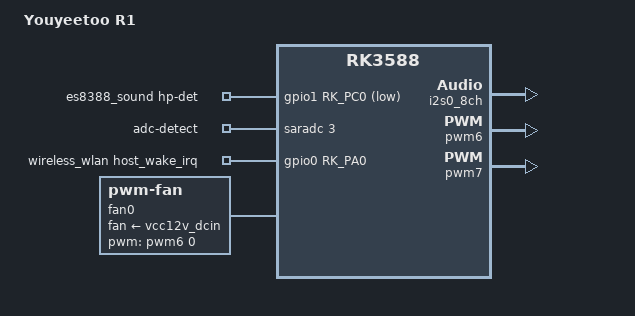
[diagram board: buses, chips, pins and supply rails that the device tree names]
// SPDX-License-Identifier: (GPL-2.0+ OR MIT)
/*
 * Copyright (c) 2021 Rockchip Electronics Co., Ltd.
 *
 */

/dts-v1/;

#include "rk3588s-yyt-common.dtsi"

/ {
    model = "Youyeetoo R1";
    compatible = "youyeetoo,r1", "rockchip,rk3588";

    /* AUDIO */

	es8388_sound: es8388-sound {
		status = "okay";
		compatible = "rockchip,multicodecs-card";
		rockchip,card-name = "rockchip-es8388";
        hp-det-gpio = <&gpio1 RK_PC0 GPIO_ACTIVE_LOW>;
		io-channels = <&saradc 3>;
		io-channel-names = "adc-detect";
		keyup-threshold-microvolt = <1800000>;
		poll-interval = <100>;
		rockchip,format = "i2s";
		rockchip,mclk-fs = <256>;
		rockchip,cpu = <&i2s0_8ch>;
		rockchip,codec = <&es8388>;
        rockchip,audio-routing =
            "Headphone", "LOUT1",
            "Headphone", "ROUT1",
            "Speaker", "LOUT1",
            "Speaker", "ROUT1",
            "Headphone", "Headphone Power",
            "Speaker", "Speaker Power",
            "LINPUT1", "Headset Mic",
            "RINPUT1", "Headset Mic",
            "LINPUT2", "Main Mic",
            "RINPUT2", "Main Mic";
		pinctrl-names = "default";
		pinctrl-0 = <&hp_det>;
		play-pause-key {
			label = "playpause";
			linux,code = <KEY_PLAYPAUSE>;
			press-threshold-microvolt = <2000>;
		};
	};

    /* BLUETOOTH */
    wireless_bluetooth: wireless-bluetooth {
        compatible = "bluetooth-platdata";
        clocks = <&hym8563>;
        clock-names = "ext_clock";
        status = "okay";
    };

    /* WIFI */
    wireless_wlan: wireless-wlan {
        compatible = "wlan-platdata";
        wifi_chip_type = "rtl8852be";
        pinctrl-names = "default";
        pinctrl-0 = <&wifi_host_wake_irq>;
        WIFI,host_wake_irq = <&gpio0 RK_PA0 GPIO_ACTIVE_HIGH>;
        status = "okay";
    };

    /* FAN */
	fan0: pwm-fan {
		compatible = "pwm-fan";
		#cooling-cells = <2>;
		cooling-levels = <100 160 190 200 215 235 255>;
		pwms = <&pwm6 0 40000 0>;
        fan-supply = <&vcc12v_dcin>;
	};

    /* If hdmirx node is disabled, delete the reserved-memory node here. */
	reserved-memory {
		#address-cells = <2>;
		#size-cells = <2>;
		ranges;

		/* Reserve 256MB memory for hdmirx-controller@fdee0000 */
		cma {
			compatible = "shared-dma-pool";
			reusable;
			reg = <0x0 (256 * 0x100000) 0x0 (256 * 0x100000)>;
			linux,cma-default;
		};
	};
};

/* AUDIO */
&i2s0_8ch {
	status = "okay";
	pinctrl-0 = <&i2s0_lrck
		     &i2s0_sclk
		     &i2s0_sdi0
		     &i2s0_sdo0>;
};

/* PWM */
&pwm6{
     pinctrl-0 = <&pwm6m0_pins>;
     pinctrl-names = "active";
     status = "okay";
};

&pwm7{
     pinctrl-0 = <&pwm7m0_pins>;
     pinctrl-names = "active";
     status = "okay";
};

